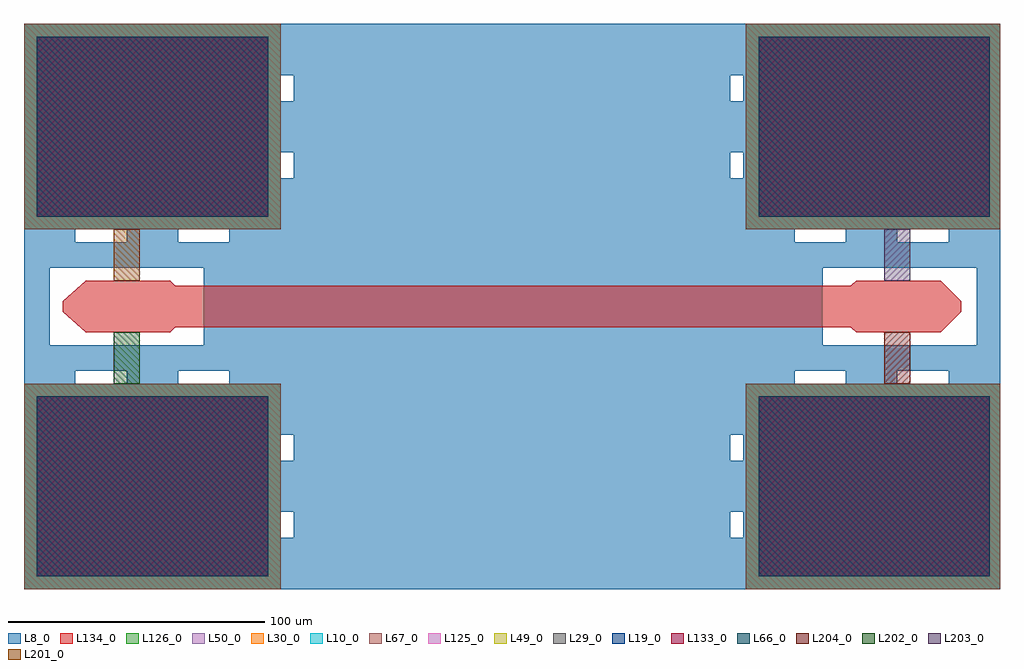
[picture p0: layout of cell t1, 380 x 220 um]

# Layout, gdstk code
import gdstk
lib = gdstk.Library(unit=1e-6, precision=1e-06)
def R(c, l, rs):  # rectangles x0, y0, x1, y1
    for r in rs: c.add(gdstk.rectangle(r[:2], r[2:], *l))
def A(c, l, x, y, w, h, nx, ny, dx, dy):  # array of equal rectangles
    R(c, l, [(x+i*dx, y+j*dy, x+i*dx+w, y+j*dy+h) for i in range(nx) for j in range(ny)])
def P(c, l, *ps):  # polygons
    for p in ps: c.add(gdstk.Polygon(p, *l))
L8_0 = (8, 0)
L10_0 = (10, 0)
L19_0 = (19, 0)
L29_0 = (29, 0)
L30_0 = (30, 0)
L49_0 = (49, 0)
L50_0 = (50, 0)
L66_0 = (66, 0)
L67_0 = (67, 0)
L125_0 = (125, 0)
L126_0 = (126, 0)
L133_0 = (133, 0)
L134_0 = (134, 0)
L201_0 = (201, 0)
L202_0 = (202, 0)
L203_0 = (203, 0)
L204_0 = (204, 0)

c_t1 = lib.new_cell('t1')
A(c_t1, L8_0, -233, -30, 20, 5, 3, 2, 40, 55)
A(c_t1, L8_0, 47, -30, 20, 5, 3, 2, 40, 55)
R(c_t1, L8_0, [(-233,-110,-133,-30), (-133,-110,-128,-90), (-128,-110,-123,-25), (-123,-110,38,-25), (37,-110,42,-25), (42,-110,47,-90), (47,-110,147,-30), (-133,-80,-128,-60), (42,-80,47,-60), (-133,-50,-128,-25), (-123,-50,-103,50), (17,-50,37,50), (42,-50,47,-25), (-233,-25,-133,-15), (-233,-25,-133,-15), (-133,-25,-123,0), (-123,-25,37,25), (37,-25,47,0), (47,-25,147,-15), (47,-25,147,-15), (-233,-15,-223,15), (-163,-15,-133,15), (47,-15,78,15), (138,-15,147,15), (-133,0,-123,25), (37,0,47,25), (-233,15,-133,25), (47,15,147,25), (-133,25,-128,50), (-128,25,-123,110), (-123,25,37,110), (37,25,42,110), (42,25,47,50), (-233,30,-133,110), (47,30,147,110), (-133,60,-128,80), (42,60,47,80), (-133,90,-128,110), (42,90,47,110)])
R(c_t1, L10_0, [(-233,-110,-133,-30), (48,-110,147,-30), (-233,30,-133,110), (48,30,147,110)])
R(c_t1, L19_0, [(-228,-105,-138,-35), (53,-105,143,-35), (-228,35,-138,105), (53,35,143,105)])
R(c_t1, L29_0, [(-228,-105,-138,-35), (53,-105,143,-35), (-228,35,-138,105), (53,35,143,105)])
R(c_t1, L30_0, [(-233,-110,-133,-30), (48,-110,147,-30), (-233,30,-133,110), (48,30,147,110)])
R(c_t1, L49_0, [(-228,-105,-138,-35), (53,-105,143,-35), (-228,35,-138,105), (53,35,143,105)])
R(c_t1, L50_0, [(-233,-110,-133,-30), (48,-110,147,-30), (-233,30,-133,110), (48,30,147,110)])
R(c_t1, L66_0, [(-228,-105,-138,-35), (53,-105,143,-35), (-228,35,-138,105), (53,35,143,105)])
R(c_t1, L67_0, [(-233,-110,-133,-30), (48,-110,147,-30), (-233,30,-133,110), (48,30,147,110)])
R(c_t1, L125_0, [(-228,-105,-138,-35), (53,-105,143,-35), (-228,35,-138,105), (53,35,143,105)])
R(c_t1, L126_0, [(-233,-110,-133,-30), (48,-110,147,-30), (-233,30,-133,110), (48,30,147,110)])
R(c_t1, L133_0, [(-228,-105,-138,-35), (53,-105,143,-35), (-228,35,-138,105), (53,35,143,105)])
R(c_t1, L134_0, [(-233,-110,-133,-30), (48,-110,147,-30), (-193,-8,107,8), (-233,30,-133,110), (48,30,147,110)])
P(c_t1, L134_0, [(91,-10),(82,-2),(82,2),(91,10),(124,10),(132,2),(132,-2),(124,-10)],
  [(-209,-10),(-218,-2),(-218,2),(-209,10),(-176,10),(-168,2),(-168,-2),(-176,-10)])
R(c_t1, L201_0, [(-198,10,-188,30)])
R(c_t1, L202_0, [(-198,-30,-188,-10)])
R(c_t1, L203_0, [(102,10,112,30)])
R(c_t1, L204_0, [(102,-30,112,-10)])

lib.write_gds('t1.gds')
